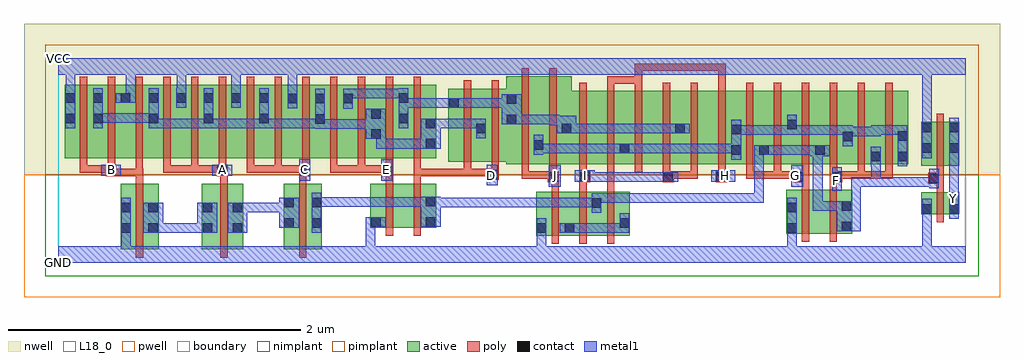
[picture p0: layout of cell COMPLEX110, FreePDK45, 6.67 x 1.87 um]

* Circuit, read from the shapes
.subckt COMPLEX110 A B C D E F G GND H I J VCC Y
M1 n1 B GND VSUBS nfet w=0.45u l=0.05u
M2 n2 A n1 VSUBS nfet w=0.45u l=0.05u
M3 n3 C n2 VSUBS nfet w=0.45u l=0.05u
M4 n4 E GND VSUBS nfet w=0.3u l=0.05u
M5 n3 D n4 VSUBS nfet w=0.3u l=0.05u
M6 n5 J GND VSUBS nfet w=0.3u l=0.05u
M7 n3 I n5 VSUBS nfet w=0.3u l=0.05u
M8 n5 H n3 VSUBS nfet w=0.3u l=0.05u
M9 n6 G GND VSUBS nfet w=0.3u l=0.05u
M10 n3 F n6 VSUBS nfet w=0.3u l=0.05u
M11 Y n3 GND VSUBS nfet w=0.15u l=0.05u
M12 n7 B VCC n8 pfet w=0.5u l=0.05u m=3
M13 VCC A n7 n8 pfet w=0.5u l=0.05u m=3
M14 n7 C VCC n8 pfet w=0.5u l=0.05u m=3
M15 n9 E n7 n8 pfet w=0.5u l=0.05u m=3
M16 n7 D n9 n8 pfet w=0.5u l=0.05u m=3
M17 n10 J n9 n8 pfet w=0.6u l=0.05u m=2
M18 n11 I n9 n8 pfet w=0.5u l=0.05u
M19 n10 H n11 n8 pfet w=0.5u l=0.05u
M20 n12 H n10 n8 pfet w=0.5u l=0.05u
M21 n9 I n12 n8 pfet w=0.5u l=0.05u
M22 n13 I n9 n8 pfet w=0.5u l=0.05u
M23 n10 H n13 n8 pfet w=0.5u l=0.05u
M24 n3 G n10 n8 pfet w=0.5u l=0.05u m=3
M25 n10 F n3 n8 pfet w=0.5u l=0.05u m=3
M26 Y n3 VCC n8 pfet w=0.3u l=0.05u
.ends

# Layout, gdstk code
import gdstk
lib = gdstk.Library(unit=1e-6, precision=1e-09)
def R(c, l, rs):  # rectangles x0, y0, x1, y1
    for r in rs: c.add(gdstk.rectangle(r[:2], r[2:], *l))
def A(c, l, x, y, w, h, nx, ny, dx, dy):  # array of equal rectangles
    R(c, l, [(x+i*dx, y+j*dy, x+i*dx+w, y+j*dy+h) for i in range(nx) for j in range(ny)])
active = (1, 0)
pwell = (2, 0)
nwell = (3, 0)
nimplant = (4, 0)
pimplant = (5, 0)
poly = (9, 0)
contact = (10, 0)
metal1 = (11, 0)
L18_0 = (18, 0)
boundary = (235, 0)

complex110 = lib.new_cell('COMPLEX110')
A(complex110, active, 0.042, 0.717, 0.265, 0.5, 4, 1, 0.19, 0)
A(complex110, active, 0.042, 0.717, 0.075, 0.5, 3, 1, 0.38, 0)
A(complex110, active, 1.562, 0.717, 0.265, 0.5, 4, 1, 0.19, 0)
R(complex110, active, [(0.425,0.092,0.685,0.542), (0.425,0.092,0.5,0.542), (0.98,0.092,1.262,0.542), (1.54,0.092,1.8,0.542), (0.61,0.097,0.685,0.542), (0.98,0.097,1.055,0.542), (1.187,0.097,1.262,0.542), (1.54,0.097,1.615,0.542), (1.725,0.097,1.8,0.542), (3.265,0.187,3.34,0.487), (3.265,0.187,3.53,0.487), (3.455,0.187,3.715,0.487), (3.64,0.187,3.905,0.487), (3.455,0.2,3.53,0.392), (3.83,0.2,3.905,0.487), (4.975,0.2,5.05,0.5), (4.975,0.2,5.2,0.5), (5.2,0.2,5.425,0.5), (5.35,0.2,5.425,0.5), (2.132,0.242,2.207,0.542), (2.132,0.242,2.357,0.542), (2.357,0.242,2.582,0.542), (2.507,0.242,2.582,0.542), (3.64,0.247,3.715,0.447), (5.897,0.332,5.972,0.482), (5.897,0.332,6.157,0.482), (6.082,0.332,6.157,0.482), (5.897,0.665,5.972,0.965), (5.897,0.665,6.157,0.965), (6.082,0.665,6.157,0.962), (3.06,0.675,3.32,1.275), (3.245,0.675,3.32,1.07), (3.245,0.675,3.51,1.275), (3.435,0.675,3.68,1.175), (3.68,0.675,3.905,1.175), (3.83,0.675,3.905,1.07), (3.83,0.675,4.06,1.175), (4.06,0.675,4.285,1.175), (4.21,0.675,4.44,1.175), (4.21,0.675,4.285,1.175), (4.44,0.675,4.67,1.175), (4.595,0.675,4.67,1.157), (4.595,0.675,4.86,1.175), (4.785,0.675,4.86,1.07), (4.785,0.675,5.05,1.175), (4.975,0.675,5.242,1.175), (5.167,0.675,5.242,1.07), (5.167,0.675,5.432,1.175), (5.357,0.675,5.432,1.157), (5.357,0.675,5.622,1.175), (5.547,0.675,5.807,1.175), (5.547,0.675,5.622,1.07), (5.732,0.675,5.807,1.157), (2.665,0.692,2.925,1.192), (2.665,0.692,2.74,1.157), (2.85,0.692,3.135,1.192), (2.85,0.692,2.925,1.07), (3.06,0.692,3.135,1.2), (0.232,0.717,0.307,1.2), (0.612,0.717,0.687,1.2), (0.802,0.717,1.062,1.217), (0.987,0.717,1.252,1.217), (0.987,0.717,1.062,1.2), (1.177,0.717,1.442,1.217), (1.367,0.717,1.442,1.2), (1.367,0.717,1.637,1.217), (1.752,0.717,1.827,1.2), (1.942,0.717,2.017,1.2), (2.132,0.717,2.207,1.07), (2.322,0.717,2.582,1.217), (2.322,0.717,2.397,1.2), (2.507,0.717,2.582,1.07), (4.975,0.737,5.05,1.157), (3.435,0.742,3.51,1.2), (1.177,0.807,1.252,1.217), (1.562,0.807,1.637,1.217)])
R(complex110, pwell, [(-0.235,-0.235,6.435,0.602)])
R(complex110, nwell, [(-0.235,0.602,6.435,1.635)])
R(complex110, nimplant, [(-0.09,-0.09,6.29,0.602)])
R(complex110, pimplant, [(-0.09,0.602,6.29,1.49)])
A(complex110, poly, 4.13, 0.575, 0.05, 0.095, 6, 1, 0.19, 0)
A(complex110, poly, 5.272, 0.575, 0.05, 0.095, 3, 1, 0.19, 0)
A(complex110, poly, 0.717, 0.617, 0.05, 0.095, 9, 1, 0.19, 0)
A(complex110, poly, 3.56, 0.62, 0.05, 0.61, 9, 1, 0.19, 0)
A(complex110, poly, 5.272, 0.62, 0.05, 0.61, 3, 1, 0.19, 0)
A(complex110, poly, 0.147, 0.662, 0.05, 0.61, 13, 1, 0.19, 0)
R(complex110, poly, [(0.53,0.037,0.58,0.597), (1.107,0.037,1.157,0.597), (1.645,0.037,1.695,0.597), (3.37,0.132,3.42,0.542), (3.56,0.132,3.61,0.542), (3.75,0.132,3.8,0.6), (5.08,0.145,5.13,0.555), (5.27,0.145,5.32,0.555), (2.237,0.187,2.287,0.597), (2.427,0.187,2.477,0.597), (6.002,0.277,6.052,0.537), (6.002,0.487,6.052,0.59), (3.37,0.492,3.42,0.6), (3.56,0.492,3.61,0.6), (5.08,0.505,5.13,0.6), (5.27,0.505,5.32,0.6), (5.945,0.54,6.052,0.615), (0.53,0.547,0.58,0.642), (1.107,0.547,1.157,0.642), (1.645,0.547,1.695,0.642), (2.237,0.547,2.287,0.642), (2.427,0.547,2.477,0.642), (3.345,0.55,3.42,0.625), (3.56,0.55,3.635,0.625), (3.75,0.55,3.8,0.6), (3.75,0.55,3.8,0.6), (3.75,0.55,3.8,0.67), (4.13,0.55,4.205,0.625), (4.492,0.55,4.567,0.625), (5.022,0.55,5.13,0.625), (5.27,0.55,5.357,0.625), (6.002,0.565,6.052,0.66), (2.932,0.567,3.01,0.642), (3.165,0.575,3.215,0.67), (3.165,0.575,3.215,0.625), (3.165,0.575,3.215,0.625), (3.165,0.575,3.215,0.625), (3.165,0.575,3.395,0.625), (3.355,0.575,3.405,0.67), (3.56,0.575,3.61,0.67), (4.155,0.575,4.37,0.625), (4.32,0.575,4.37,0.625), (4.32,0.575,4.37,0.625), (4.32,0.575,4.37,0.625), (4.7,0.575,4.94,0.625), (4.7,0.575,4.75,0.625), (4.7,0.575,4.75,0.625), (4.7,0.575,4.75,0.625), (4.89,0.575,4.94,0.625), (4.89,0.575,5.072,0.625), (5.022,0.575,5.072,0.625), (5.022,0.575,5.072,0.625), (5.307,0.575,5.357,0.625), (5.307,0.575,5.357,0.625), (5.307,0.575,5.512,0.625), (5.462,0.575,5.702,0.625), (5.462,0.575,5.512,0.625), (5.462,0.575,5.512,0.625), (5.462,0.575,5.512,0.625), (5.652,0.575,5.702,0.625), (0.322,0.592,0.397,0.667), (0.347,0.592,0.397,0.642), (0.347,0.592,0.397,0.642), (0.347,0.592,0.577,0.642), (0.527,0.592,0.577,0.712), (0.527,0.592,0.58,0.642), (1.082,0.592,1.157,0.667), (1.645,0.592,1.72,0.667), (2.21,0.592,2.287,0.667), (2.427,0.592,2.477,0.642), (2.427,0.592,2.477,0.642), (2.427,0.592,2.477,0.642), (2.427,0.592,2.477,0.712), (2.427,0.592,2.82,0.642), (2.77,0.592,2.82,0.687), (2.77,0.592,2.82,0.642), (2.77,0.592,2.82,0.642), (2.77,0.592,2.82,0.642), (2.77,0.592,2.982,0.642), (2.932,0.592,2.982,0.642), (2.932,0.592,2.982,0.642), (2.96,0.592,3.01,0.687), (6.002,0.61,6.052,1.02), (0.147,0.617,0.197,0.712), (0.147,0.617,0.2,0.667), (0.15,0.617,0.2,0.667), (0.15,0.617,0.2,0.667), (0.15,0.617,0.372,0.667), (0.337,0.617,0.387,0.712), (0.717,0.617,0.77,0.667), (0.72,0.617,0.77,0.667), (0.72,0.617,0.77,0.667), (0.72,0.617,0.957,0.667), (0.907,0.617,0.957,0.667), (0.907,0.617,0.957,0.667), (0.907,0.617,0.957,0.667), (0.907,0.617,1.132,0.667), (1.287,0.617,1.527,0.667), (1.287,0.617,1.337,0.667), (1.287,0.617,1.337,0.667), (1.287,0.617,1.337,0.667), (1.477,0.617,1.527,0.667), (1.477,0.617,1.695,0.667), (1.645,0.617,1.695,0.667), (1.645,0.617,1.695,0.667), (1.857,0.617,2.097,0.667), (1.857,0.617,1.907,0.667), (1.857,0.617,1.907,0.667), (1.857,0.617,1.907,0.667), (2.047,0.617,2.097,0.667), (2.047,0.617,2.097,0.667), (2.047,0.617,2.097,0.667), (2.047,0.617,2.26,0.667), (3.165,0.62,3.215,1.33), (3.355,0.62,3.405,1.33), (2.77,0.637,2.82,1.247), (2.96,0.637,3.01,1.247), (3.75,1.18,3.8,1.275), (3.94,1.18,3.99,1.275), (4.51,1.18,4.56,1.362), (3.75,1.225,3.99,1.275), (3.75,1.225,3.8,1.275), (3.75,1.225,3.8,1.275), (3.75,1.225,3.8,1.275), (3.94,1.225,3.99,1.362), (3.94,1.312,3.99,1.362), (3.94,1.312,3.99,1.362), (3.94,1.312,4.205,1.362), (4.155,1.312,4.205,1.362), (4.155,1.312,4.337,1.362), (4.287,1.312,4.337,1.362), (4.287,1.312,4.337,1.362), (4.287,1.312,4.337,1.362), (4.287,1.312,4.56,1.362), (4.51,1.312,4.56,1.362), (4.51,1.312,4.56,1.362), (4.51,1.312,4.56,1.362)])
A(complex110, contact, 0.047, 1.095, 0.065, 0.065, 5, 1, 0.19, 0)
A(complex110, contact, 0.992, 1.095, 0.065, 0.065, 3, 1, 0.19, 0)
R(complex110, contact, [(0.43,0.205,0.495,0.27), (0.615,0.205,0.68,0.27), (0.985,0.205,1.05,0.27), (1.192,0.205,1.257,0.27), (3.27,0.205,3.335,0.27), (3.46,0.205,3.525,0.27), (4.98,0.207,5.045,0.272), (5.355,0.215,5.42,0.28), (1.545,0.24,1.61,0.305), (1.73,0.24,1.795,0.305), (3.835,0.24,3.9,0.305), (2.137,0.247,2.202,0.312), (2.512,0.247,2.577,0.312), (5.902,0.337,5.967,0.402), (6.087,0.337,6.152,0.402), (0.43,0.345,0.495,0.41), (0.615,0.345,0.68,0.41), (0.985,0.345,1.05,0.41), (1.192,0.345,1.257,0.41), (4.98,0.347,5.045,0.412), (5.355,0.355,5.42,0.42), (3.645,0.377,3.71,0.442), (1.545,0.38,1.61,0.445), (1.73,0.38,1.795,0.445), (2.512,0.387,2.577,0.452), (5.95,0.545,6.015,0.61), (3.35,0.555,3.415,0.62), (3.565,0.555,3.63,0.62), (4.135,0.555,4.2,0.62), (4.497,0.555,4.562,0.62), (5.027,0.555,5.092,0.62), (5.287,0.555,5.352,0.62), (2.937,0.572,3.002,0.637), (0.327,0.597,0.392,0.662), (1.087,0.597,1.152,0.662), (1.65,0.597,1.715,0.662), (2.215,0.597,2.28,0.662), (5.552,0.695,5.617,0.76), (5.737,0.695,5.802,0.76), (4.6,0.74,4.665,0.805), (4.79,0.74,4.855,0.805), (5.172,0.74,5.237,0.805), (3.835,0.75,3.9,0.815), (5.902,0.752,5.967,0.817), (6.087,0.752,6.152,0.817), (3.25,0.775,3.315,0.84), (2.512,0.782,2.577,0.847), (5.362,0.832,5.427,0.897), (5.737,0.835,5.802,0.9), (2.137,0.847,2.202,0.912), (4.6,0.88,4.665,0.945), (2.855,0.887,2.92,0.952), (3.44,0.887,3.505,0.952), (4.215,0.887,4.28,0.952), (5.902,0.892,5.967,0.957), (6.087,0.892,6.152,0.957), (4.98,0.912,5.045,0.977), (2.512,0.922,2.577,0.987), (3.065,0.947,3.13,1.012), (1.757,0.952,1.822,1.017), (0.047,0.955,0.112,1.02), (0.237,0.955,0.302,1.02), (0.617,0.955,0.682,1.02), (0.992,0.955,1.057,1.02), (1.372,0.955,1.437,1.02), (2.327,0.955,2.392,1.02), (2.137,0.987,2.202,1.052), (2.67,1.06,2.735,1.125), (3.065,1.087,3.13,1.152), (1.947,1.09,2.012,1.155), (1.567,1.092,1.632,1.157), (1.757,1.092,1.822,1.157), (2.327,1.095,2.392,1.16)])
R(complex110, metal1, [(0,0,6.2,0.115), (0.43,0.05,0.495,0.235), (2.102,0.05,2.167,0.312), (3.27,0.05,3.335,0.115), (3.27,0.05,3.335,0.115), (3.27,0.05,3.335,0.235), (4.98,0.05,5.045,0.115), (4.98,0.05,5.045,0.115), (4.98,0.05,5.045,0.237), (5.902,0.05,5.967,0.367), (0.43,0.17,0.495,0.445), (3.27,0.17,3.335,0.305), (4.98,0.172,5.045,0.447), (0.58,0.205,0.715,0.41), (0.65,0.205,0.715,0.27), (0.65,0.205,0.715,0.27), (0.65,0.205,0.877,0.27), (0.812,0.205,0.877,0.27), (0.812,0.205,0.877,0.27), (0.812,0.205,0.877,0.27), (0.812,0.205,1.015,0.27), (0.95,0.205,1.085,0.41), (1.157,0.205,1.292,0.41), (1.73,0.205,1.795,0.48), (3.425,0.205,3.56,0.27), (3.495,0.205,3.56,0.27), (3.495,0.205,3.56,0.27), (3.495,0.205,3.697,0.27), (3.632,0.205,3.697,0.27), (3.632,0.205,3.89,0.27), (3.825,0.205,3.89,0.27), (3.825,0.205,3.9,0.27), (3.835,0.205,3.9,0.34), (5.32,0.215,5.482,0.42), (1.51,0.24,1.645,0.445), (2.102,0.247,2.167,0.312), (2.102,0.247,2.167,0.312), (2.102,0.247,2.237,0.312), (2.477,0.247,2.612,0.452), (5.902,0.302,5.967,0.367), (5.902,0.302,5.967,0.367), (5.902,0.302,5.967,0.367), (5.902,0.302,5.967,0.367), (5.902,0.302,5.967,0.437), (6.087,0.302,6.152,0.437), (3.645,0.342,3.71,0.477), (1.227,0.345,1.292,0.41), (1.227,0.345,1.292,0.41), (1.227,0.345,1.437,0.41), (1.372,0.345,1.437,0.41), (1.372,0.345,1.575,0.41), (1.51,0.345,1.575,0.41), (1.51,0.345,1.575,0.41), (5.157,0.355,5.222,0.42), (5.157,0.355,5.385,0.42), (5.157,0.355,5.222,0.795), (5.32,0.355,5.385,0.42), (5.32,0.355,5.385,0.42), (5.417,0.355,5.482,0.585), (6.087,0.372,6.152,0.437), (6.087,0.372,6.152,0.507), (2.547,0.382,2.612,0.447), (2.547,0.382,2.612,0.447), (2.547,0.382,2.77,0.447), (2.705,0.382,2.77,0.447), (2.705,0.382,2.907,0.447), (2.842,0.382,2.907,0.447), (2.842,0.382,2.907,0.447), (2.842,0.382,2.907,0.447), (2.842,0.382,3.14,0.447), (3.075,0.382,3.14,0.447), (3.075,0.382,3.277,0.447), (3.212,0.382,3.277,0.447), (3.212,0.382,3.277,0.447), (3.212,0.382,3.277,0.447), (3.212,0.382,3.422,0.447), (3.357,0.382,3.422,0.447), (3.357,0.382,3.56,0.447), (3.495,0.382,3.56,0.447), (3.495,0.382,3.56,0.447), (3.495,0.382,3.56,0.447), (3.495,0.382,3.71,0.447), (1.73,0.385,1.892,0.45), (1.827,0.385,1.892,0.45), (1.827,0.385,2.03,0.45), (1.965,0.385,2.03,0.45), (1.965,0.385,2.03,0.45), (1.965,0.385,2.03,0.45), (1.965,0.385,2.255,0.45), (2.19,0.385,2.255,0.45), (2.19,0.385,2.255,0.45), (2.19,0.385,2.255,0.45), (2.19,0.385,2.392,0.45), (2.327,0.385,2.392,0.45), (2.327,0.385,2.392,0.45), (2.327,0.385,2.392,0.45), (2.327,0.385,2.542,0.45), (3.645,0.412,3.89,0.477), (3.825,0.412,3.89,0.477), (3.825,0.412,3.89,0.477), (3.825,0.412,3.89,0.477), (3.825,0.412,4.027,0.477), (3.962,0.412,4.027,0.477), (3.962,0.412,4.072,0.477), (4.007,0.412,4.072,0.477), (4.007,0.412,4.252,0.477), (4.187,0.412,4.252,0.477), (4.187,0.412,4.252,0.477), (4.187,0.412,4.252,0.477), (4.187,0.412,4.39,0.477), (4.325,0.412,4.39,0.477), (4.325,0.412,4.527,0.477), (4.462,0.412,4.527,0.477), (4.462,0.412,4.527,0.477), (4.462,0.412,4.527,0.477), (4.462,0.412,4.682,0.477), (4.617,0.412,4.682,0.477), (4.617,0.412,4.682,0.477), (4.617,0.412,4.682,0.477), (4.617,0.412,4.682,0.477), (4.617,0.412,4.682,0.477), (4.617,0.412,4.82,0.477), (4.755,0.412,4.82,0.477), (4.755,0.412,4.82,0.805), (6.087,0.442,6.152,0.782), (5.287,0.492,5.352,0.655), (5.95,0.51,6.015,0.645), (3.35,0.52,3.432,0.667), (5.007,0.52,5.092,0.667), (5.417,0.52,5.482,0.585), (5.417,0.52,5.62,0.585), (5.555,0.52,5.62,0.585), (5.555,0.52,5.62,0.585), (5.555,0.52,5.62,0.585), (5.555,0.52,5.757,0.585), (5.555,0.52,5.62,0.725), (5.692,0.52,5.757,0.585), (5.692,0.52,5.757,0.585), (5.692,0.52,5.757,0.585), (5.692,0.52,6.015,0.585), (5.95,0.52,6.015,0.585), (5.95,0.52,6.015,0.585), (2.927,0.532,3.002,0.672), (3.53,0.555,3.667,0.632), (3.602,0.555,3.697,0.62), (3.632,0.555,3.697,0.62), (3.632,0.555,3.847,0.62), (3.782,0.555,3.847,0.62), (3.782,0.555,3.847,0.62), (3.782,0.555,3.847,0.62), (3.782,0.555,4.027,0.62), (3.962,0.555,4.027,0.62), (3.962,0.555,4.072,0.62), (4.007,0.555,4.072,0.62), (4.007,0.555,4.165,0.62), (4.1,0.555,4.235,0.62), (4.462,0.555,4.627,0.632), (1.647,0.562,1.72,0.707), (2.207,0.562,2.28,0.707), (0.292,0.595,0.427,0.672), (1.052,0.595,1.187,0.672), (5.552,0.66,5.62,0.795), (5.737,0.66,5.802,0.935), (4.6,0.705,4.665,0.98), (5.902,0.717,5.967,0.992), (6.087,0.717,6.152,0.992), (5.137,0.73,5.272,0.805), (5.157,0.73,5.222,0.795), (5.157,0.73,5.222,0.795), (3.25,0.74,3.315,0.875), (4.755,0.74,4.82,0.805), (4.755,0.74,4.82,0.805), (4.755,0.74,4.89,0.805), (4.825,0.74,4.89,0.805), (4.825,0.74,4.89,0.805), (4.825,0.74,5.045,0.805), (4.98,0.74,5.045,0.805), (4.98,0.74,5.202,0.805), (5.137,0.74,5.202,0.805), (5.137,0.74,5.202,0.805), (3.25,0.75,3.422,0.815), (3.357,0.75,3.422,0.815), (3.357,0.75,3.56,0.815), (3.495,0.75,3.56,0.815), (3.495,0.75,3.56,0.815), (3.495,0.75,3.56,0.815), (3.495,0.75,3.697,0.815), (3.632,0.75,3.697,0.815), (3.632,0.75,3.865,0.815), (3.8,0.75,3.865,0.815), (3.8,0.75,3.865,0.815), (3.8,0.75,3.935,0.815), (3.87,0.75,4.027,0.815), (3.962,0.75,4.027,0.815), (3.962,0.75,4.072,0.815), (4.007,0.75,4.072,0.815), (4.007,0.75,4.252,0.815), (4.187,0.75,4.252,0.815), (4.187,0.75,4.252,0.815), (4.187,0.75,4.252,0.815), (4.187,0.75,4.39,0.815), (4.325,0.75,4.39,0.815), (4.325,0.75,4.527,0.815), (4.462,0.75,4.527,0.815), (4.462,0.75,4.527,0.815), (4.462,0.75,4.527,0.815), (4.462,0.75,4.665,0.815), (2.172,0.782,2.392,0.847), (2.172,0.782,2.237,0.912), (2.327,0.782,2.392,0.847), (2.327,0.782,2.392,0.847), (2.327,0.782,2.392,0.847), (2.327,0.782,2.542,0.847), (2.477,0.782,2.612,0.987), (5.362,0.797,5.427,0.932), (2.102,0.847,2.237,1.052), (2.172,0.847,2.237,0.912), (2.855,0.852,2.92,0.987), (5.362,0.867,5.427,0.932), (5.362,0.867,5.427,0.932), (5.362,0.867,5.427,0.932), (5.362,0.867,5.62,0.932), (5.362,0.867,5.427,0.942), (5.555,0.867,5.62,0.942), (5.737,0.87,5.802,0.935), (5.737,0.87,5.802,0.942), (4.6,0.877,4.665,0.942), (4.6,0.877,4.665,0.942), (4.6,0.877,4.907,0.942), (4.842,0.877,4.907,0.942), (4.842,0.877,4.907,0.942), (4.842,0.877,4.907,0.942), (4.842,0.877,5.045,0.942), (4.98,0.877,5.045,0.942), (4.98,0.877,5.045,0.942), (4.98,0.877,5.045,1.012), (4.98,0.877,5.247,0.942), (5.182,0.877,5.247,0.942), (5.182,0.877,5.427,0.942), (5.555,0.877,5.62,0.942), (5.555,0.877,5.62,0.942), (5.555,0.877,5.802,0.942), (3.405,0.887,3.54,1.005), (3.475,0.887,3.71,0.952), (3.645,0.887,3.71,0.952), (3.645,0.887,3.71,0.952), (3.645,0.887,3.71,0.952), (3.645,0.887,3.89,0.952), (3.825,0.887,3.89,0.952), (3.825,0.887,3.89,0.952), (3.825,0.887,3.89,0.952), (3.825,0.887,4.027,0.952), (3.962,0.887,4.027,0.952), (3.962,0.887,4.072,0.952), (4.007,0.887,4.072,0.952), (4.007,0.887,4.245,0.952), (4.18,0.887,4.245,0.952), (4.18,0.887,4.245,0.952), (4.18,0.887,4.315,0.952), (1.757,0.917,1.822,1.192), (1.757,0.917,1.875,0.982), (1.81,0.917,1.875,0.982), (1.81,0.917,2.03,0.982), (1.965,0.917,2.03,0.982), (1.965,0.917,2.03,0.982), (1.965,0.917,2.03,0.982), (1.965,0.917,2.167,0.982), (0.047,0.92,0.115,1.195), (0.237,0.92,0.302,1.195), (0.617,0.92,0.685,1.195), (0.992,0.92,1.057,1.195), (0.992,0.92,1.057,0.985), (0.992,0.92,1.057,0.985), (0.992,0.92,1.3,0.985), (1.235,0.92,1.3,0.985), (1.235,0.92,1.437,0.985), (1.372,0.92,1.437,1.195), (1.372,0.92,1.437,0.985), (1.372,0.92,1.437,0.985), (1.372,0.92,1.575,0.985), (1.51,0.92,1.575,0.985), (1.51,0.92,1.575,0.985), (1.51,0.92,1.575,0.985), (1.51,0.92,1.712,0.985), (1.647,0.92,1.712,0.985), (1.647,0.92,1.822,0.985), (2.327,0.92,2.392,1.195), (0.62,0.922,0.685,0.987), (0.62,0.922,0.685,0.987), (0.62,0.922,0.877,0.987), (0.812,0.922,0.877,0.987), (0.812,0.922,0.877,0.987), (0.812,0.922,0.877,0.987), (0.812,0.922,1.057,0.987), (2.547,0.922,2.612,0.987), (2.547,0.922,2.612,0.987), (2.547,0.922,2.77,0.987), (2.705,0.922,2.77,0.987), (2.705,0.922,2.92,0.987), (5.902,0.927,5.967,1.35), (3.357,0.94,3.422,1.012), (3.357,0.94,3.47,1.005), (3.03,0.947,3.165,1.152), (3.075,0.947,3.14,1.012), (3.075,0.947,3.14,1.012), (3.075,0.947,3.14,1.012), (3.075,0.947,3.14,1.012), (3.075,0.947,3.302,1.012), (3.237,0.947,3.302,1.012), (3.237,0.947,3.422,1.012), (0.237,0.957,0.302,1.022), (0.237,0.957,0.302,1.022), (0.237,0.957,0.507,1.022), (0.442,0.957,0.507,1.022), (0.442,0.957,0.507,1.022), (0.442,0.957,0.507,1.022), (0.442,0.957,0.682,1.022), (1.947,1.055,2.012,1.19), (1.567,1.057,1.632,1.192), (0.807,1.06,0.875,1.195), (1.182,1.06,1.247,1.195), (2.327,1.06,2.392,1.125), (2.327,1.06,2.392,1.125), (2.327,1.06,2.542,1.125), (2.477,1.06,2.542,1.125), (2.477,1.06,2.7,1.125), (2.635,1.06,2.77,1.125), (2.705,1.06,2.77,1.125), (2.705,1.06,2.77,1.125), (2.705,1.06,2.907,1.125), (2.842,1.06,2.907,1.125), (2.842,1.06,2.907,1.125), (2.842,1.06,2.907,1.125), (2.842,1.06,3.095,1.125), (0.392,1.095,0.527,1.16), (0.462,1.095,0.527,1.16), (0.462,1.095,0.527,1.16), (0.462,1.095,0.527,1.35), (1.947,1.125,2.03,1.19), (1.965,1.125,2.03,1.19), (1.965,1.125,2.255,1.19), (2.19,1.125,2.255,1.19), (2.19,1.125,2.255,1.19), (2.19,1.125,2.255,1.19), (2.19,1.125,2.392,1.19), (1.567,1.127,1.632,1.192), (1.567,1.127,1.632,1.192), (1.567,1.127,1.632,1.35), (0.05,1.13,0.115,1.195), (0.05,1.13,0.115,1.195), (0.05,1.13,0.115,1.35), (0.81,1.13,0.875,1.195), (0.81,1.13,0.875,1.195), (0.81,1.13,0.875,1.35), (1.182,1.13,1.247,1.195), (1.182,1.13,1.247,1.195), (1.182,1.13,1.247,1.35), (0,1.285,6.2,1.4), (5.902,1.285,5.967,1.35), (5.902,1.285,5.967,1.35), (5.902,1.285,5.967,1.35), (5.902,1.285,5.967,1.35)])
A(complex110, L18_0, 1.087, 0.607, 0.065, 0.065, 3, 1, 0.56, 0)
R(complex110, L18_0, [(0,0,6.2,0.115), (0.43,0.05,0.495,0.235), (2.102,0.05,2.167,0.312), (3.27,0.05,3.335,0.115), (3.27,0.05,3.335,0.115), (3.27,0.05,3.335,0.235), (4.98,0.05,5.045,0.115), (4.98,0.05,5.045,0.115), (4.98,0.05,5.045,0.237), (5.902,0.05,5.967,0.367), (0.43,0.17,0.495,0.445), (3.27,0.17,3.335,0.305), (4.98,0.172,5.045,0.447), (2.102,0.247,2.167,0.312), (2.102,0.247,2.167,0.312), (2.102,0.247,2.237,0.312), (5.902,0.302,5.967,0.367), (5.902,0.302,5.967,0.367), (5.902,0.302,5.967,0.367), (5.902,0.302,5.967,0.367), (5.902,0.302,5.967,0.437), (6.087,0.302,6.152,0.437), (6.087,0.372,6.152,0.437), (6.087,0.372,6.152,0.507), (6.087,0.407,6.152,0.472), (6.087,0.442,6.152,0.782), (5.287,0.492,5.352,0.655), (3.35,0.52,3.432,0.667), (5.007,0.52,5.092,0.667), (5.287,0.527,5.352,0.592), (2.927,0.532,3.002,0.672), (3.53,0.555,3.667,0.632), (3.602,0.555,3.697,0.62), (3.632,0.555,3.697,0.62), (3.632,0.555,3.847,0.62), (3.782,0.555,3.847,0.62), (3.782,0.555,3.847,0.62), (3.782,0.555,3.847,0.62), (3.782,0.555,4.027,0.62), (3.962,0.555,4.027,0.62), (3.962,0.555,4.072,0.62), (4.007,0.555,4.072,0.62), (4.007,0.555,4.165,0.62), (4.1,0.555,4.235,0.62), (4.462,0.555,4.627,0.632), (1.647,0.562,1.72,0.707), (2.207,0.562,2.28,0.707), (2.927,0.567,2.992,0.632), (3.367,0.567,3.432,0.632), (3.567,0.567,3.632,0.632), (4.527,0.567,4.592,0.632), (5.007,0.567,5.072,0.632), (0.292,0.595,0.427,0.672), (1.052,0.595,1.187,0.672), (0.327,0.607,0.392,0.672), (5.902,0.717,5.967,0.992), (6.087,0.717,6.152,0.992), (0.047,0.92,0.115,1.195), (5.902,0.927,5.967,1.35), (1.567,1.057,1.632,1.192), (0.807,1.06,0.875,1.195), (1.182,1.06,1.247,1.195), (0.392,1.095,0.527,1.16), (0.462,1.095,0.527,1.16), (0.462,1.095,0.527,1.16), (0.462,1.095,0.527,1.35), (1.567,1.127,1.632,1.192), (1.567,1.127,1.632,1.192), (1.567,1.127,1.632,1.35), (0.05,1.13,0.115,1.195), (0.05,1.13,0.115,1.195), (0.05,1.13,0.115,1.35), (0.81,1.13,0.875,1.195), (0.81,1.13,0.875,1.195), (0.81,1.13,0.875,1.35), (1.182,1.13,1.247,1.195), (1.182,1.13,1.247,1.195), (1.182,1.13,1.247,1.35), (0,1.285,6.2,1.4), (5.902,1.285,5.967,1.35), (5.902,1.285,5.967,1.35), (5.902,1.285,5.967,1.35), (5.902,1.285,5.967,1.35)])
R(complex110, boundary, [(0,0,6.2,1.4)])
complex110.add(gdstk.Label('A', (1.12,0.64), layer=11, texttype=0))
complex110.add(gdstk.Label('B', (0.36,0.64), layer=11, texttype=0))
complex110.add(gdstk.Label('C', (1.68,0.64), layer=11, texttype=0))
complex110.add(gdstk.Label('D', (2.96,0.6), layer=11, texttype=0))
complex110.add(gdstk.Label('E', (2.24,0.64), layer=11, texttype=0))
complex110.add(gdstk.Label('F', (5.32,0.56), layer=11, texttype=0))
complex110.add(gdstk.Label('G', (5.04,0.6), layer=11, texttype=0))
complex110.add(gdstk.Label('H', (4.56,0.6), layer=11, texttype=0))
complex110.add(gdstk.Label('I', (3.6,0.6), layer=11, texttype=0))
complex110.add(gdstk.Label('J', (3.4,0.6), layer=11, texttype=0))
complex110.add(gdstk.Label('Y', (6.12,0.44), layer=11, texttype=0))
complex110.add(gdstk.Label('VCC', (0,1.4), layer=11, texttype=0))
complex110.add(gdstk.Label('GND', (0,0), layer=11, texttype=0))

lib.write_gds('COMPLEX110.gds')
